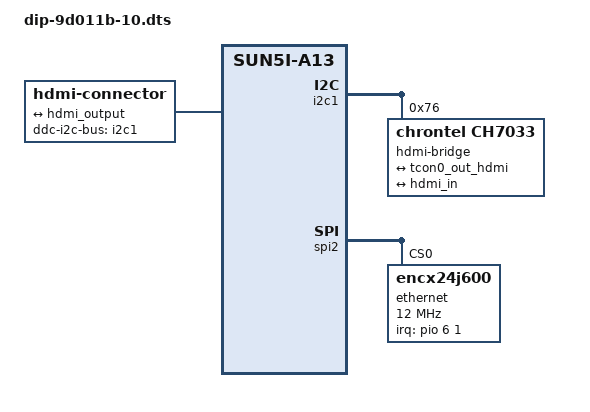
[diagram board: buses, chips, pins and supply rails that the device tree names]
#include <dt-bindings/interrupt-controller/irq.h>

/dts-v1/;
/plugin/;

/ {
	compatible = "nextthing,chip", "allwinner,sun5i-r8", "allwinner,sun5i-a13";

	fragment@0{
		target-path = "/";

		__overlay__ {
			hdmi_connector: connector {
				compatible = "hdmi-connector";
				label = "hdmi";

				type = "a";

				ddc-i2c-bus = <&i2c1>;

				port {
					hdmi_in: endpoint@0 {
						remote-endpoint = <&hdmi_output>;
					};
				};
			};
		};
	};

	fragment@1{
		target = <&i2c1>;

		__overlay__ {
			#address-cells = <1>;
			#size-cells = <0>;
			status = "okay";

			hdmi-bridge@76 {
				compatible = "chrontel,ch7033";
				reg = <0x76>;

				ports {

					port@0 {
						reg = <0>;

						hdmi_input: endpoint {
							remote-endpoint = <&tcon0_out_hdmi>;
						};
					};

					port@1 {
						reg = <1>;

						hdmi_output: endpoint {
							remote-endpoint = <&hdmi_in>;
						};
					};
				};
			};
		};
	};

	fragment@2{
		target = <&tcon0>;

		__overlay__ {
			pinctrl-names = "default";
			pinctrl-0 = <&lcd_rgb565_pins>;
		};
	};

	fragment@3{
		target = <&tcon0_out>;

		__overlay__ {
			#address-cells = <1>;
			#size-cells = <0>;

			tcon0_out_hdmi: endpoint@0 {
				reg = <0>;
				remote-endpoint = <&hdmi_input>;
				allwinner,tcon-channel = <0>;
			};
		};
	};

	fragment@4{
		target = <&spi2>;

		__overlay__ {
			status = "okay";

			pinctrl-names = "default";
			pinctrl-0 = <&spi2_pe_pins &spi2_cs0_pe_pin>;

			ethernet@0 {
				compatible = "encx24j600";
				reg = <0>;
				spi-max-frequency = <12000000>;
				interrupt-parent = <&pio>;
				interrupts = <6 1 IRQ_TYPE_LEVEL_LOW>;
			};
		};
	};
};
